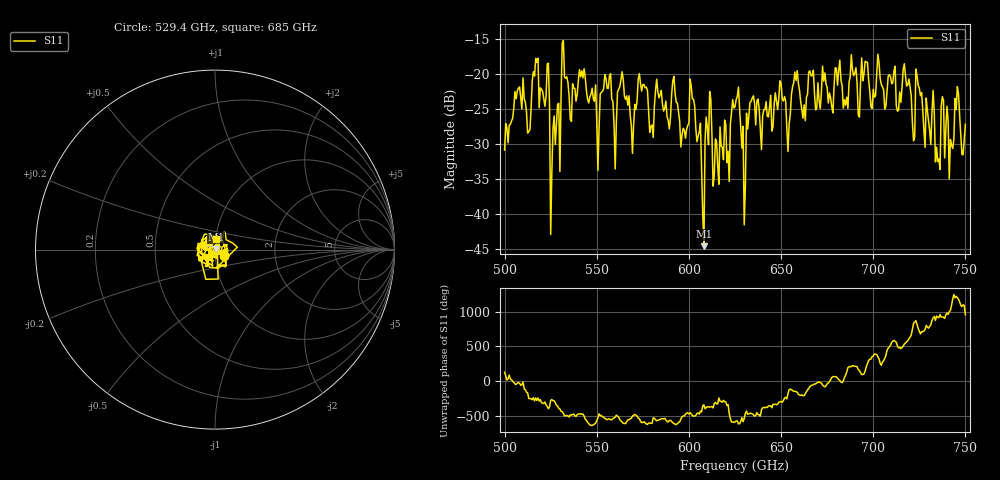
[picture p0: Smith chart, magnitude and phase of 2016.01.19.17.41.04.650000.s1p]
!Created with skrf (http://scikit-rf.org).
# GHz S RI R 50.0
!freq ReS11 ImS11
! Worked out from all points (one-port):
!   401 points, 500 GHz to 750 GHz, reference 50 ohm
!   lowest |S11| = -44.7 dB at 608.1 GHz (marker M1), VSWR 1.01, Z = 50.6 + j0.155 ohm
!   |S11| at or under -10 dB: start of sweep to end of sweep
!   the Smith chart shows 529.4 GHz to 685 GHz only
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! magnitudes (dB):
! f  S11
! 500 GHz  -30.9
! 506.9 GHz  -22.5
! 513.1 GHz  -28.3
! 516.9 GHz  -17.8
! 523.1 GHz  -18.6
! 526.2 GHz  -27.9
! 531.2 GHz  -15.7
! 551.2 GHz  -27.8
! 556.2 GHz  -22.1
! 559.4 GHz  -27.2
! 562.5 GHz  -21.8
! 569.4 GHz  -31.4
! 573.8 GHz  -21.4
! 579.4 GHz  -27.5
! 593.8 GHz  -24.2
! 601.9 GHz  -23.6
! 608.1 GHz  -44.7
! 610.6 GHz  -30.1
! 615 GHz  -29.7
! 625 GHz  -24.7
! 629.4 GHz  -27.5
! 634.4 GHz  -23.5
! 656.2 GHz  -21.9
! 687.5 GHz  -20.4
! 718.8 GHz  -21.6
! 735 GHz  -32.6
! 745.6 GHz  -21.8
! 750 GHz  -27.2
